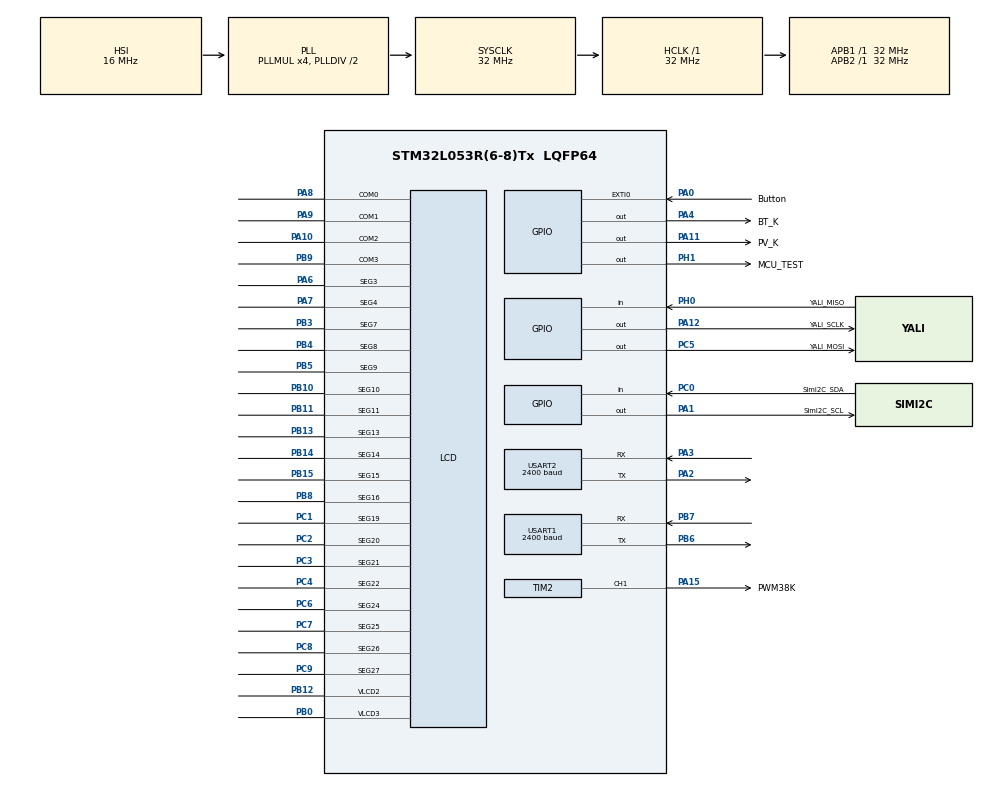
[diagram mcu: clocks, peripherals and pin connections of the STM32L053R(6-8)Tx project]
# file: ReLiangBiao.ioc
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ADC.ClockPrescaler=ADC_CLOCK_ASYNC_DIV64
ADC.ContinuousConvMode=DISABLE
ADC.DMAContinuousRequests=DISABLE
ADC.DataAlign=ADC_DATAALIGN_RIGHT
ADC.DiscontinuousConvMode=DISABLE
ADC.EOCSelection=ADC_EOC_SINGLE_CONV
ADC.EnableAnalogWatchDog=false
ADC.ExternalTrigConv=ADC_SOFTWARE_START
ADC.ExternalTrigConvEdge=ADC_EXTERNALTRIGCONVEDGE_NONE
ADC.LowPowerAutoPowerOff=DISABLE
ADC.LowPowerAutoWait=DISABLE
ADC.LowPowerFrequencyMode=DISABLE
ADC.Overrun=ADC_OVR_DATA_OVERWRITTEN
ADC.OversamplingMode=ENABLE
ADC.Ratio=ADC_OVERSAMPLING_RATIO_4
ADC.Resolution=ADC_RESOLUTION_12B
ADC.RightBitShift=ADC_RIGHTBITSHIFT_2
ADC.SamplingTime=ADC_SAMPLETIME_3CYCLES_5
ADC.ScanConvMode=ADC_SCAN_DIRECTION_FORWARD
ADC.TriggeredMode=ADC_TRIGGEREDMODE_SINGLE_TRIGGER
LCD.Contrast=LCD_CONTRASTLEVEL_3
LCD.PulseOnDuration=LCD_PULSEONDURATION_3
Mcu.Family=STM32L0
Mcu.Name=STM32L053R(6-8)Tx
Mcu.Package=LQFP64
Mcu.UserConstants=LongKey,2000;dt,10
NVIC.EXTI0_1_IRQn=true\:1\:0\:true\:false\:true\:true\:true
NVIC.RTC_IRQn=true\:0\:0\:false\:false\:true\:true\:true
NVIC.TIM6_DAC_IRQn=true\:1\:0\:true\:false\:true\:true\:true
NVIC.USART1_IRQn=true\:1\:0\:true\:false\:true\:true\:true
NVIC.USART2_IRQn=true\:1\:0\:true\:false\:true\:true\:true
PA0.GPIO_Label=Button
PA0.GPIO_ModeDefaultEXTI=GPIO_MODE_IT_RISING
PA0.GPIO_PuPd=GPIO_PULLDOWN
PA0.Signal=GPXTI0
PA1.GPIO_Label=SimI2C_SCL
PA1.Signal=GPIO_Output
PA10.Mode=1/4 Duty Cycle
PA10.Signal=LCD_COM2
PA11.GPIO_Label=PV_K
PA11.Signal=GPIO_Output
PA12.GPIO_Label=YALI_SCLK
PA12.Signal=GPIO_Output
PA13.Mode=Serial_Wire
PA13.Signal=SYS_SWDIO
PA14.Mode=Serial_Wire
PA14.Signal=SYS_SWCLK
PA15.GPIO_Label=PWM38K
PA15.Signal=S_TIM2_CH1
PA2.Mode=Asynchronous
PA2.Signal=USART2_TX
PA3.Mode=Asynchronous
PA3.Signal=USART2_RX
PA4.GPIO_Label=BT_K
PA4.Signal=GPIO_Output
PA5.GPIO_Label=BT_AD
PA5.Signal=ADC_IN5
PA6.Mode=SEG3
PA6.Signal=LCD_SEG3
PA7.Mode=SEG4
PA7.Signal=LCD_SEG4
PA8.Mode=1/4 Duty Cycle
PA8.Signal=LCD_COM0
PA9.Mode=1/4 Duty Cycle
PA9.Signal=LCD_COM1
PB0.Mode=VLCD3
PB0.Signal=LCD_VLCD3
PB10.Mode=SEG10
PB10.Signal=LCD_SEG10
PB11.Mode=SEG11
PB11.Signal=LCD_SEG11
PB12.Mode=VLCD2
PB12.Signal=LCD_VLCD2
PB13.Mode=SEG13
PB13.Signal=LCD_SEG13
PB14.Mode=SEG14
PB14.Signal=LCD_SEG14
PB15.Mode=SEG15
PB15.Signal=LCD_SEG15
PB3.Mode=SEG7
PB3.Signal=LCD_SEG7
PB4.Mode=SEG8
PB4.Signal=LCD_SEG8
PB5.Mode=SEG9
PB5.Signal=LCD_SEG9
PB6.Mode=Asynchronous
PB6.Signal=USART1_TX
PB7.Mode=Asynchronous
PB7.Signal=USART1_RX
PB8.Mode=SEG16
PB8.Signal=LCD_SEG16
PB9.Mode=1/4 Duty Cycle
PB9.Signal=LCD_COM3
PC0.GPIO_Label=SimI2C_SDA
PC0.Signal=GPIO_Input
PC1.Mode=SEG19
PC1.Signal=LCD_SEG19
PC10.Signal=LCD_SEG28
PC11.Signal=LCD_SEG29
PC12.Signal=LCD_SEG30
PC13.Mode=SYS_WakeUp1
PC13.Signal=SYS_WKUP2
PC14-OSC32_IN.Mode=LSE-External-Oscillator
PC14-OSC32_IN.Signal=RCC_OSC32_IN
PC15-OSC32_OUT.Mode=LSE-External-Oscillator
PC15-OSC32_OUT.Signal=RCC_OSC32_OUT
PC2.Mode=SEG20
PC2.Signal=LCD_SEG20
PC3.Mode=SEG21
PC3.Signal=LCD_SEG21
PC4.Mode=SEG22
PC4.Signal=LCD_SEG22
PC5.GPIO_Label=YALI_MOSI
PC5.Signal=GPIO_Output
PC6.Mode=SEG24
PC6.Signal=LCD_SEG24
PC7.Mode=SEG25
PC7.Signal=LCD_SEG25
PC8.Mode=SEG26
PC8.Signal=LCD_SEG26
PC9.Mode=SEG27
PC9.Signal=LCD_SEG27
PD2.Signal=LCD_SEG31
PH0-OSC_IN.GPIO_Label=YALI_MISO
PH0-OSC_IN.GPIO_PuPd=GPIO_PULLUP
PH0-OSC_IN.Signal=GPIO_Input
PH1-OSC_OUT.GPIO_Label=MCU_TEST
PH1-OSC_OUT.Signal=GPIO_Output
ProjectManager.HeapSize=0x200
ProjectManager.StackSize=0x400
ProjectManager.TargetToolchain=Other Toolchains (GPDSC)
RCC.ADCFreq_Value=16000000
RCC.AHBFreq_Value=32000000
RCC.APB1Freq_Value=32000000
RCC.APB1TimFreq_Value=32000000
RCC.APB2Freq_Value=32000000
RCC.APB2TimFreq_Value=32000000
RCC.HCLKFreq_Value=32000000
RCC.HSE_VALUE=8000000
RCC.HSI16_VALUE=16000000
RCC.HSI48_VALUE=48000000
RCC.HSI_VALUE=16000000
RCC.LSE_Drive_Capability=RCC_LSEDRIVE_LOW
RCC.LptimClockSelection=RCC_LPTIM1CLKSOURCE_LSE
RCC.Lpuart1ClockSelection=RCC_LPUART1CLKSOURCE_LSE
RCC.MSI_VALUE=2097000
RCC.PLLMUL=RCC_PLLMUL_4
RCC.PWR_Regulator_Voltage_Scale=PWR_REGULATOR_VOLTAGE_SCALE1
RCC.RTCClockSelectionVirtual=RCC_RTCCLKSOURCE_LSE
RCC.SYSCLKFreq_VALUE=32000000
RCC.SYSCLKSource=RCC_SYSCLKSOURCE_PLLCLK
RCC.Usart1ClockSelection=RCC_USART1CLKSOURCE_LSE
RCC.Usart2ClockSelection=RCC_USART2CLKSOURCE_LSE
RCC.VCOOutputFreq_Value=64000000
RCC.VDD_VALUE=3
RTC.WakeUpClock-WakeUp=RTC_WAKEUPCLOCK_CK_SPRE_16BITS
RTC.WakeUpCounter-WakeUp=dt-1
SH.S_TIM2_CH1.0=TIM2_CH1,PWM Generation1 CH1
TIM2.Channel-PWM\ Generation1\ CH1=TIM_CHANNEL_1
TIM2.Period=54
TIM2.Prescaler=0
TIM2.Pulse-PWM\ Generation1\ CH1=27
TIM6.Period=LongKey
TIM6.Prescaler=2100
TIM6.TIM_MasterOutputTrigger=TIM_TRGO_RESET
USART1.BaudRate=2400
USART1.OverSampling=UART_OVERSAMPLING_8
USART1.Parity=PARITY_EVEN
USART1.VirtualMode-Asynchronous=VM_ASYNC
USART1.WordLength=WORDLENGTH_9B
USART2.BaudRate=2400
USART2.OverSampling=UART_OVERSAMPLING_8
USART2.Parity=PARITY_EVEN
USART2.VirtualMode-Asynchronous=VM_ASYNC
USART2.WordLength=WORDLENGTH_9B
VP_ADC_Vref_Input.Mode=IN-Vrefint
VP_LCD_LCD_Bias.Mode=1/3 Bias
VP_RTC_VS_RTC_Activate.Mode=RTC_Enabled
VP_RTC_VS_RTC_Calendar.Mode=RTC_Calendar
VP_RTC_VS_RTC_WakeUp_intern.Mode=WakeUp
VP_TIM6_VS_ClockSourceINT.Mode=Enable_Timer
board=ReLiangBiao

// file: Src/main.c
/**
  ******************************************************************************
  * File Name          : main.c
  * Description        : Main program body
  ******************************************************************************
  ** This notice applies to any and all portions of this file
  * that are not between comment pairs USER CODE BEGIN and
  * USER CODE END. Other portions of this file, whether
  * inserted by the user or by software development tools
  * are owned by their respective copyright owners.
  *
  * COPYRIGHT(c) 2018 STMicroelectronics
  *
  * Redistribution and use in source and binary forms, with or without modification,
  * are permitted provided that the following conditions are met:
  *   1. Redistributions of source code must retain the above copyright notice,
  *      this list of conditions and the following disclaimer.
  *   2. Redistributions in binary form must reproduce the above copyright notice,
  *      this list of conditions and the following disclaimer in the documentation
  *      and/or other materials provided with the distribution.
  *   3. Neither the name of STMicroelectronics nor the names of its contributors
  *      may be used to endorse or promote products derived from this software
  *      without specific prior written permission.
  *
  * THIS SOFTWARE IS PROVIDED BY THE COPYRIGHT HOLDERS AND CONTRIBUTORS "AS IS"
  * AND ANY EXPRESS OR IMPLIED WARRANTIES, INCLUDING, BUT NOT LIMITED TO, THE
  * IMPLIED WARRANTIES OF MERCHANTABILITY AND FITNESS FOR A PARTICULAR PURPOSE ARE
  * DISCLAIMED. IN NO EVENT SHALL THE COPYRIGHT HOLDER OR CONTRIBUTORS BE LIABLE
  * FOR ANY DIRECT, INDIRECT, INCIDENTAL, SPECIAL, EXEMPLARY, OR CONSEQUENTIAL
  * DAMAGES (INCLUDING, BUT NOT LIMITED TO, PROCUREMENT OF SUBSTITUTE GOODS OR
  * SERVICES; LOSS OF USE, DATA, OR PROFITS; OR BUSINESS INTERRUPTION) HOWEVER
  * CAUSED AND ON ANY THEORY OF LIABILITY, WHETHER IN CONTRACT, STRICT LIABILITY,
  * OR TORT (INCLUDING NEGLIGENCE OR OTHERWISE) ARISING IN ANY WAY OUT OF THE USE
  * OF THIS SOFTWARE, EVEN IF ADVISED OF THE POSSIBILITY OF SUCH DAMAGE.
  *
  ******************************************************************************
  */

#include "main.h"
#include "stm32l0xx_hal.h"
#include "adc.h"
#include "lcd.h"
#include "rtc.h"
#include "tim.h"
#include "usart.h"
#include "gpio.h"

/* USER CODE BEGIN Includes */
#include "wfSys.h"
#include "wfEEPROM.h"
#include "CP68_Client.h"
#include "Display.h"
#include "SimSPI.h"
#include "Variables.h"
#include "DP600J.h"
/* USER CODE END Includes */

/* USER CODE BEGIN PV */
uint32_t FlashTick;
/* Private variables ---------------------------------------------------------*/

/* USER CODE END PV */

void SystemClock_Config(void);

/* USER CODE BEGIN PFP */
/* Private function prototypes -----------------------------------------------*/

/* USER CODE END PFP */

/* USER CODE BEGIN 0 */
void SysEnterStandby(void)
{
	//__HAL_RCC_APB2_FORCE_RESET();
	//__HAL_RCC_APB1_FORCE_RESET();

	__HAL_RCC_PWR_CLK_ENABLE();

	__HAL_PWR_CLEAR_FLAG(PWR_FLAG_SB);
	__HAL_PWR_CLEAR_FLAG(PWR_FLAG_WU);

	__HAL_RTC_WRITEPROTECTION_DISABLE(&hrtc);//关闭 RTC 写保护

	__HAL_RTC_WAKEUPTIMER_DISABLE_IT(&hrtc,RTC_IT_WUT);
	__HAL_RTC_ALARM_DISABLE_IT(&hrtc,RTC_IT_ALRA|RTC_IT_ALRB);

	__HAL_RTC_ALARM_CLEAR_FLAG(&hrtc,RTC_FLAG_ALRAF|RTC_FLAG_ALRBF);
	__HAL_RTC_TIMESTAMP_CLEAR_FLAG(&hrtc,RTC_FLAG_TSF);
	__HAL_RTC_WAKEUPTIMER_CLEAR_FLAG(&hrtc,RTC_FLAG_WUTF);

	__HAL_RTC_WAKEUPTIMER_ENABLE_IT(&hrtc,RTC_IT_WUT);

	__HAL_RTC_WRITEPROTECTION_ENABLE(&hrtc); //使能 RTC 写保护
	__HAL_PWR_CLEAR_FLAG(PWR_FLAG_WU); //清除 Wake_UP 标志
	HAL_PWR_EnableWakeUpPin(PWR_WAKEUP_PIN1); //设置 WKUP 用于唤醒
	HAL_PWR_EnterSTANDBYMode(); //进入待机模式
}
/* USER CODE END 0 */

int main(void)
{

  /* USER CODE BEGIN 1 */
	uint8_t i;
	uint8_t j;
	uint32_t x32;
	float f;
	RTC_DateTypeDef sDate;
	RTC_TimeTypeDef sTime;
  /* USER CODE END 1 */

  /* MCU Configuration----------------------------------------------------------*/

  /* Reset of all peripherals, Initializes the Flash interface and the Systick. */
  HAL_Init();

  /* USER CODE BEGIN Init */
  VREFINT_CAL = *(__IO uint16_t *)(0x1FF80078);
  /* USER CODE END Init */

  /* Configure the system clock */
  SystemClock_Config();

  /* USER CODE BEGIN SysInit */
  //HAL_PWREx_EnableLowPowerRunMode();
  HAL_ADCEx_EnableVREFINT();
  /* USER CODE END SysInit */

  /* Initialize all configured peripherals */
  MX_GPIO_Init();
  MX_ADC_Init();
  MX_TIM2_Init();
  MX_USART1_UART_Init();
  MX_USART2_UART_Init();
  MX_TIM6_Init();

  /* USER CODE BEGIN 2 */
  //模块初始化
  wfDelay_init(2);
  SimSPI_Init();
  //判断是否为首次开机
//   if(__HAL_PWR_GET_FLAG(PWR_FLAG_WU) || __HAL_PWR_GET_FLAG(PWR_FLAG_SB))
//   {
// 	  __HAL_PWR_CLEAR_FLAG(PWR_FLAG_SB);
// 	  __HAL_PWR_CLEAR_FLAG(PWR_FLAG_WU);
//   }
//   else
//   {
// 	  __HAL_PWR_CLEAR_FLAG(PWR_FLAG_SB);
// 	  __HAL_PWR_CLEAR_FLAG(PWR_FLAG_WU);
 	  MX_RTC_Init();
//  	  for(i=0;i<3;i++)
//  	  {
//  		  for(j=0;j<8;j++)
//  			HAL_LCD_Write(&hlcd,j,0,0xffffffff);
//  		  HAL_LCD_UpdateDisplayRequest(&hlcd);
//  		  wfDelay_ms(1000);
//  		  HAL_LCD_Clear(&hlcd);
//  		  wfDelay_ms(1000);
//  	  }
//   }

  //HAL_HalfDuplex_Init(&CP68_USART_Handle);
  //微调波特率
  huart2.Instance->BRR=0x16;
  huart1.Instance->BRR=0x16;
  HAL_HalfDuplex_EnableReceiver(&CP68_USART_Handle);
  HAL_UART_Receive_IT(&CP68_USART_Handle,aRxBuffer_CP68_Client,1);
  //初始化变量
  wfEEPROM_ReadBytes(TCalc_Addr,(uint8_t*)ROMCalcParams.All,32);
  CP68_Client_Init();
  CP68_Client_TxBuf.TxStruct.DeviceType=0x20;//热量表（记热表）
  for(i=0;i<8;i++)
  {
	  CP68_Client_TxBuf.TxStruct.DeviceAddr[i]=i;
  }
  WorkMode=WorkMode_F;
  curShowPage=1;
  DisplayPage();

  //测试代码
  DevicePower_ON();
  //TEST_ON();
  /* USER CODE END 2 */

  /* Infinite loop */
  /* USER CODE BEGIN WHILE */
  HAL_TIM_PWM_Start(&htim2,TIM_CHANNEL_1);
  j=0;
  while (1)
  {
 	  //wfDelay_ms(1000);
	  //HAL_RTC_GetTime(&hrtc,&Time1,RTC_FORMAT_BCD);
 	 //HAL_UART_Transmit(&CP68_USART_Handle,"1234",4,50);
  /* USER CODE END WHILE */

  /* USER CODE BEGIN 3 */
	  if(GFlags.Bits.bCalcHeat)
	  {
		  GFlags.Bits.bCalcHeat=0;
		  //Read04();
		  ReadADC();
		  //CalcHeat();
	  }
// 	  if(GetDeltaTick(FlashTick)>500)
// 	  {
// 		  FlashTick=HAL_GetTick();
// 		  HAL_RTC_GetDate(&hrtc,&sDate,RTC_FORMAT_BCD);
// 		  HAL_RTC_GetTime(&hrtc,&sTime,RTC_FORMAT_BCD);
// 		  ShowNum(0,HIGH_NIBBLE(sTime.Hours));
// 		  ShowNum(1,LOW_NIBBLE(sTime.Hours));
//
// 		  ShowNum(3,HIGH_NIBBLE(sTime.Minutes));
// 		  ShowNum(4,LOW_NIBBLE(sTime.Minutes));
//
// 		  ShowNum(6,HIGH_NIBBLE(sTime.Seconds));
// 		  ShowNum(7,LOW_NIBBLE(sTime.Seconds));
// 		  HAL_LCD_UpdateDisplayRequest(&hlcd);
// 	  }
	  if(CP68_Client_Flags.Bits.bRx)
	  {
		  CP68_Client_CommandProc();
	  }

// 	  wfDelay_ms(1000);
// 	  ReadADC();
	  /*wfEEPROM_ReadBytes(0,(uint8_t*)u8TempList,10);
	  LL_GPIO_SetOutputPin(MCU_TEST_GPIO_Port,MCU_TEST_Pin);
	  LL_ADC_REG_SetSequencerChannels(ADC1, LL_ADC_CHANNEL_1);
	  LL_ADC_REG_StartConversion(ADC1);
	  while(LL_ADC_REG_IsConversionOngoing(ADC1)==1);
	  ADList[0]=ADC1->DR;

	  LL_ADC_REG_SetSequencerChannels(ADC1, LL_ADC_CHANNEL_5);
	  LL_ADC_REG_StartConversion(ADC1);
	  while(LL_ADC_REG_IsConversionOngoing(ADC1)==1);
	  ADList[1]=ADC1->DR;

	  LL_ADC_REG_SetSequencerChannels(ADC1, LL_ADC_CHANNEL_10);
	  LL_ADC_REG_StartConversion(ADC1);
	  while(LL_ADC_REG_IsConversionOngoing(ADC1)==1);
	  ADList[2]=ADC1->DR;

	  LL_ADC_REG_SetSequencerChannels(ADC1, LL_ADC_CHANNEL_VREFINT);
	  LL_ADC_REG_StartConversion(ADC1);
	  while(LL_ADC_REG_IsConversionOngoing(ADC1)==1);
	  LL_GPIO_ResetOutputPin(MCU_TEST_GPIO_Port,MCU_TEST_Pin);
	  ADList[3]=ADC1->DR;*/
  }
  /* USER CODE END 3 */

}

/** System Clock Configuration
*/
void SystemClock_Config(void)
{

  RCC_OscInitTypeDef RCC_OscInitStruct;
  RCC_ClkInitTypeDef RCC_ClkInitStruct;
  RCC_PeriphCLKInitTypeDef PeriphClkInit;

    /**Configure the main internal regulator output voltage
    */
  __HAL_PWR_VOLTAGESCALING_CONFIG(PWR_REGULATOR_VOLTAGE_SCALE1);

    /**Configure LSE Drive Capability
    */
  __HAL_RCC_LSEDRIVE_CONFIG(RCC_LSEDRIVE_LOW);

    /**Initializes the CPU, AHB and APB busses clocks
    */
  RCC_OscInitStruct.OscillatorType = RCC_OSCILLATORTYPE_HSI|RCC_OSCILLATORTYPE_LSE;
  RCC_OscInitStruct.LSEState = RCC_LSE_ON;
  RCC_OscInitStruct.HSIState = RCC_HSI_ON;
  RCC_OscInitStruct.HSICalibrationValue = 16;
  RCC_OscInitStruct.PLL.PLLState = RCC_PLL_ON;
  RCC_OscInitStruct.PLL.PLLSource = RCC_PLLSOURCE_HSI;
  RCC_OscInitStruct.PLL.PLLMUL = RCC_PLLMUL_4;
  RCC_OscInitStruct.PLL.PLLDIV = RCC_PLLDIV_2;
  if (HAL_RCC_OscConfig(&RCC_OscInitStruct) != HAL_OK)
  {
    _Error_Handler(__FILE__, __LINE__);
  }

    /**Initializes the CPU, AHB and APB busses clocks
    */
  RCC_ClkInitStruct.ClockType = RCC_CLOCKTYPE_HCLK|RCC_CLOCKTYPE_SYSCLK
                              |RCC_CLOCKTYPE_PCLK1|RCC_CLOCKTYPE_PCLK2;
  RCC_ClkInitStruct.SYSCLKSource = RCC_SYSCLKSOURCE_PLLCLK;
  RCC_ClkInitStruct.AHBCLKDivider = RCC_SYSCLK_DIV1;
  RCC_ClkInitStruct.APB1CLKDivider = RCC_HCLK_DIV1;
  RCC_ClkInitStruct.APB2CLKDivider = RCC_HCLK_DIV1;

  if (HAL_RCC_ClockConfig(&RCC_ClkInitStruct, FLASH_LATENCY_1) != HAL_OK)
  {
    _Error_Handler(__FILE__, __LINE__);
  }

  PeriphClkInit.PeriphClockSelection = RCC_PERIPHCLK_USART1|RCC_PERIPHCLK_USART2
                              |RCC_PERIPHCLK_RTC;
  PeriphClkInit.Usart1ClockSelection = RCC_USART1CLKSOURCE_LSE;
  PeriphClkInit.Usart2ClockSelection = RCC_USART2CLKSOURCE_LSE;
  PeriphClkInit.RTCClockSelection = RCC_RTCCLKSOURCE_LSE;
  if (HAL_RCCEx_PeriphCLKConfig(&PeriphClkInit) != HAL_OK)
  {
    _Error_Handler(__FILE__, __LINE__);
  }

    /**Configure the Systick interrupt time
    */
  HAL_SYSTICK_Config(HAL_RCC_GetHCLKFreq()/1000);

    /**Configure the Systick
    */
  HAL_SYSTICK_CLKSourceConfig(SYSTICK_CLKSOURCE_HCLK);

  /* SysTick_IRQn interrupt configuration */
  HAL_NVIC_SetPriority(SysTick_IRQn, 0, 0);
}

void _Error_Handler(char * file, int line)
{
  while(1)
  {
  }
}

/************************ (C) COPYRIGHT STMicroelectronics *****END OF FILE****/
